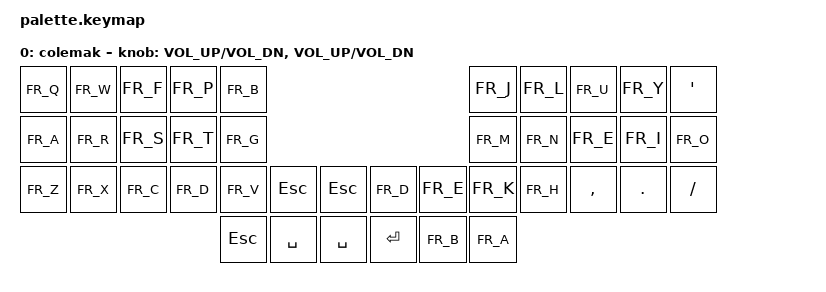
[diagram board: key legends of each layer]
#include <behaviors.dtsi>
#include <dt-bindings/zmk/keys.h>
#include <dt-bindings/zmk/bt.h>
#include <dt-bindings/zmk/outputs.h>
#include "keys_fr.h"

#define DEFAULT 0

/ {
    conditional_layers {
    };
    behaviors {
    };

    keymap {
        compatible = "zmk,keymap";

        default_layer {
            display-name = "colemak";
            bindings = <
// ╭─────────────┬─────────────┬─────────────┬─────────────┬─────────────╮                                                                  ╭─────────────┬─────────────┬─────────────┬─────────────┬─────────────╮
      &kp FR_Q      &kp FR_W      &kp FR_F      &kp FR_P      &kp FR_B                                                                         &kp FR_J      &kp FR_L      &kp FR_U      &kp FR_Y      &kp APOS   
// ├─────────────┼─────────────┼─────────────┼─────────────┼─────────────┤                                                                  ├─────────────┼─────────────┼─────────────┼─────────────┼─────────────┤
      &kp FR_A      &kp FR_R      &kp FR_S      &kp FR_T      &kp FR_G                                                                         &kp FR_M      &kp FR_N      &kp FR_E      &kp FR_I      &kp FR_O
// ├─────────────┼─────────────┼─────────────┼─────────────┼─────────────┤                                                                  ├─────────────┼─────────────┼─────────────┼─────────────┼─────────────┤
      &kp FR_Z      &kp FR_X      &kp FR_C      &kp FR_D      &kp FR_V      &kp ESC      &kp ESC                   &kp FR_D      &kp FR_E        &kp FR_K      &kp FR_H      &kp COMMA      &kp DOT      &kp SLASH
// ╰─────────────┴─────────────┼─────────────┼─────────────┼─────────────┤                                                                  ├─────────────┼─────────────┼─────────────┼─────────────┴─────────────╯
                                                              &kp ESC       &kp SPACE    &kp SPACE                 &kp RET       &kp FR_B     &kp FR_A
//                                                         ╰─────────────┴─────────────┴─────────────╯          ╰─────────────┴─────────────┴─────────────╯
            >;
            sensor-bindings = <&inc_dec_kp C_VOL_UP C_VOL_DN &inc_dec_kp C_VOL_UP C_VOL_DN>;
        };
    };
};
